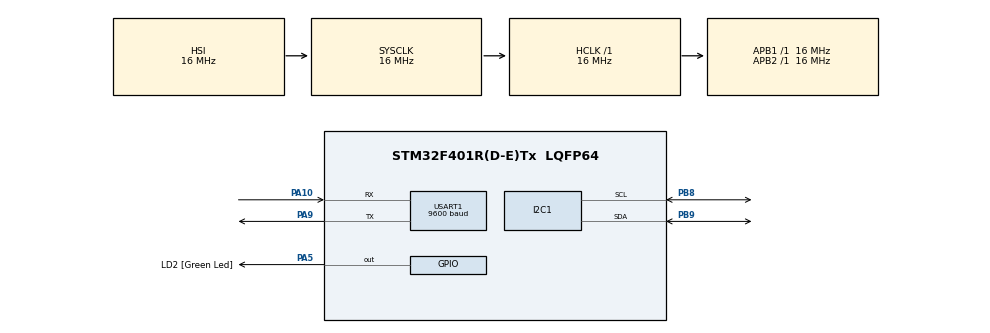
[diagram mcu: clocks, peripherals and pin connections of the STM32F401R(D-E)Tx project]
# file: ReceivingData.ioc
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Mcu.Family=STM32F4
Mcu.Name=STM32F401R(D-E)Tx
Mcu.Package=LQFP64
NVIC.PriorityGroup=NVIC_PRIORITYGROUP_4
PA10.Mode=Asynchronous
PA10.Signal=USART1_RX
PA13.Mode=Serial_Wire
PA13.Signal=SYS_JTMS-SWDIO
PA14.Mode=Serial_Wire
PA14.Signal=SYS_JTCK-SWCLK
PA5.GPIO_Label=LD2 [Green Led]
PA5.GPIO_Speed=GPIO_SPEED_FREQ_HIGH
PA5.Signal=GPIO_Output
PA9.Mode=Asynchronous
PA9.Signal=USART1_TX
PB8.Mode=I2C
PB8.Signal=I2C1_SCL
PB9.Mode=I2C
PB9.Signal=I2C1_SDA
ProjectManager.HeapSize=0x200
ProjectManager.StackSize=0x400
ProjectManager.TargetToolchain=STM32CubeIDE
RCC.AHBFreq_Value=16000000
RCC.APB1Freq_Value=16000000
RCC.APB2Freq_Value=16000000
RCC.CortexFreq_Value=16000000
RCC.HSE_VALUE=25000000
RCC.HSI_VALUE=16000000
RCC.LSE_VALUE=32768
RCC.SYSCLKFreq_VALUE=16000000
RCC.VCOOutputFreq_Value=192000000
USART1.BaudRate=9600
USART1.VirtualMode=VM_ASYNC
board=custom

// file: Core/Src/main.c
/* USER CODE BEGIN Header */
/**
  ******************************************************************************
  * @file           : main.c
  * @brief          : Main program body
  ******************************************************************************
  * @attention
  *
  * Copyright (c) 2024 STMicroelectronics.
  * All rights reserved.
  *
  * This software is licensed under terms that can be found in the LICENSE file
  * in the root directory of this software component.
  * If no LICENSE file comes with this software, it is provided AS-IS.
  *
  ******************************************************************************
  */
/* USER CODE END Header */
#include "main.h"

/* USER CODE BEGIN Includes */
#include "liquidcrystal_i2c.h"
#include <stdio.h>
#include <string.h>

/* USER CODE END Includes */

I2C_HandleTypeDef hi2c1;

UART_HandleTypeDef huart1;

/* USER CODE BEGIN PV */
char receivedData[4];
char msg[20] = "Moisture: ";

/* USER CODE END PV */

void SystemClock_Config(void);
static void MX_GPIO_Init(void);
static void MX_USART1_UART_Init(void);
static void MX_I2C1_Init(void);

int main(void)
{

  /* MCU Configuration--------------------------------------------------------*/

  /* Reset of all peripherals, Initializes the Flash interface and the Systick. */
  HAL_Init();

  /* Configure the system clock */
  SystemClock_Config();

  /* Initialize all configured peripherals */
  MX_GPIO_Init();
  MX_USART1_UART_Init();
  MX_I2C1_Init();
  /* USER CODE BEGIN 2 */
  	HD44780_Init(2);
    HD44780_Backlight();
    HD44780_Clear();
    HD44780_SetCursor(0,0);
    HD44780_PrintStr("Plant Automation!");
    HD44780_SetCursor(0,1);
    HD44780_PrintStr("Booting up...");
    HAL_Delay(9000);
    HD44780_Clear();
  /* USER CODE END 2 */

  /* Infinite loop */
  /* USER CODE BEGIN WHILE */
  while (1)
  {
	  HAL_UART_Receive(&huart1, (uint8_t *)receivedData, sizeof(receivedData), 500);

	   HD44780_Clear();
	   HD44780_SetCursor(0,0);
	   sprintf(msg, "Moisture: %s%% \r\n ", receivedData);
	   HD44780_PrintStr(msg);
	   // HAL_Delay(500);

//	  if(receivedData[0] == '\0') {
//		  msg[0
//	  }
	  // receivedData[sizeof(receivedData) - 1] = '/0';

//	  if(HAL_UART_Receive(&huart1, (uint8_t *)receivedData, strlen(receivedData), HAL_MAX_DELAY) == HAL_OK) {
//		  HAL_GPIO_WritePin(GPIOA, GPIO_PIN_5, GPIO_PIN_SET);
//	  } else {
//		 HAL_GPIO_WritePin(GPIOA, GPIO_PIN_5, GPIO_PIN_RESET);
//
//	  }

//
//	  for (int i = 0; i < 3; i++) {
//	          msg[i] = (char)receivedData[i];  // Convert uint8_t to char
//	      }

    /* USER CODE END WHILE */

  }
}

void SystemClock_Config(void)
{
  RCC_OscInitTypeDef RCC_OscInitStruct = {0};
  RCC_ClkInitTypeDef RCC_ClkInitStruct = {0};

  /** Configure the main internal regulator output voltage
  */
  __HAL_RCC_PWR_CLK_ENABLE();
  __HAL_PWR_VOLTAGESCALING_CONFIG(PWR_REGULATOR_VOLTAGE_SCALE2);

  /** Initializes the RCC Oscillators according to the specified parameters
  * in the RCC_OscInitTypeDef structure.
  */
  RCC_OscInitStruct.OscillatorType = RCC_OSCILLATORTYPE_HSI;
  RCC_OscInitStruct.HSIState = RCC_HSI_ON;
  RCC_OscInitStruct.HSICalibrationValue = RCC_HSICALIBRATION_DEFAULT;
  RCC_OscInitStruct.PLL.PLLState = RCC_PLL_NONE;
  if (HAL_RCC_OscConfig(&RCC_OscInitStruct) != HAL_OK)
  {
    Error_Handler();
  }

  /** Initializes the CPU, AHB and APB buses clocks
  */
  RCC_ClkInitStruct.ClockType = RCC_CLOCKTYPE_HCLK|RCC_CLOCKTYPE_SYSCLK
                              |RCC_CLOCKTYPE_PCLK1|RCC_CLOCKTYPE_PCLK2;
  RCC_ClkInitStruct.SYSCLKSource = RCC_SYSCLKSOURCE_HSI;
  RCC_ClkInitStruct.AHBCLKDivider = RCC_SYSCLK_DIV1;
  RCC_ClkInitStruct.APB1CLKDivider = RCC_HCLK_DIV1;
  RCC_ClkInitStruct.APB2CLKDivider = RCC_HCLK_DIV1;

  if (HAL_RCC_ClockConfig(&RCC_ClkInitStruct, FLASH_LATENCY_0) != HAL_OK)
  {
    Error_Handler();
  }
}

static void MX_I2C1_Init(void)
{

  hi2c1.Instance = I2C1;
  hi2c1.Init.ClockSpeed = 100000;
  hi2c1.Init.DutyCycle = I2C_DUTYCYCLE_2;
  hi2c1.Init.OwnAddress1 = 0;
  hi2c1.Init.AddressingMode = I2C_ADDRESSINGMODE_7BIT;
  hi2c1.Init.DualAddressMode = I2C_DUALADDRESS_DISABLE;
  hi2c1.Init.OwnAddress2 = 0;
  hi2c1.Init.GeneralCallMode = I2C_GENERALCALL_DISABLE;
  hi2c1.Init.NoStretchMode = I2C_NOSTRETCH_DISABLE;
  if (HAL_I2C_Init(&hi2c1) != HAL_OK)
  {
    Error_Handler();
  }

}

static void MX_USART1_UART_Init(void)
{

  huart1.Instance = USART1;
  huart1.Init.BaudRate = 9600;
  huart1.Init.WordLength = UART_WORDLENGTH_8B;
  huart1.Init.StopBits = UART_STOPBITS_1;
  huart1.Init.Parity = UART_PARITY_NONE;
  huart1.Init.Mode = UART_MODE_TX_RX;
  huart1.Init.HwFlowCtl = UART_HWCONTROL_NONE;
  huart1.Init.OverSampling = UART_OVERSAMPLING_16;
  if (HAL_UART_Init(&huart1) != HAL_OK)
  {
    Error_Handler();
  }

}

static void MX_GPIO_Init(void)
{
  GPIO_InitTypeDef GPIO_InitStruct = {0};

  /* GPIO Ports Clock Enable */
  __HAL_RCC_GPIOA_CLK_ENABLE();
  __HAL_RCC_GPIOB_CLK_ENABLE();

  /*Configure GPIO pin Output Level */
  HAL_GPIO_WritePin(LD2_GPIO_Port, LD2_Pin, GPIO_PIN_RESET);

  /*Configure GPIO pin : LD2_Pin */
  GPIO_InitStruct.Pin = LD2_Pin;
  GPIO_InitStruct.Mode = GPIO_MODE_OUTPUT_PP;
  GPIO_InitStruct.Pull = GPIO_NOPULL;
  GPIO_InitStruct.Speed = GPIO_SPEED_FREQ_HIGH;
  HAL_GPIO_Init(LD2_GPIO_Port, &GPIO_InitStruct);

}

void Error_Handler(void)
{
  __disable_irq();
  while (1)
  {
  }
}
